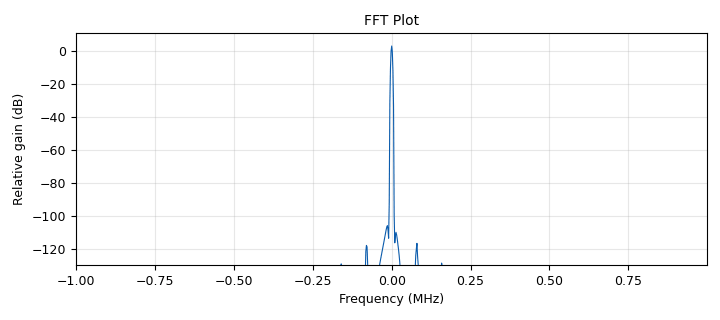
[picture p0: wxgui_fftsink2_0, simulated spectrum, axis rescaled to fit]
<?xml version='1.0' encoding='utf-8'?>
<?grc format='1' created='3.7.8'?>
<flow_graph>
<block>
<key>options</key>
<param><key>id</key><value>top_block</value></param>
<param><key>category</key><value>Custom</value></param>
<param><key>generate_options</key><value>wx_gui</value></param>
</block>
<block>
<key>variable</key>
<param><key>id</key><value>band_width_var</value></param>
<param><key>value</key><value>200*1e3</value></param>
</block>
<block>
<key>variable_slider</key>
<param><key>id</key><value>freq</value></param>
<param><key>converver</key><value>float_converter</value></param>
<param><key>value</key><value>1200</value></param>
<param><key>label</key><value></value></param>
<param><key>max</key><value>2e9</value></param>
<param><key>min</key><value>100</value></param>
<param><key>num_steps</key><value>1</value></param>
<param><key>style</key><value>wx.SL_HORIZONTAL</value></param>
</block>
<block>
<key>variable</key>
<param><key>id</key><value>samp_rate</value></param>
<param><key>value</key><value>2000000</value></param>
</block>
<block>
<key>analog_sig_source_x</key>
<param><key>id</key><value>analog_sig_source_x_0</value></param>
<param><key>amp</key><value>2</value></param>
<param><key>freq</key><value>freq*1e6</value></param>
<param><key>offset</key><value>0</value></param>
<param><key>type</key><value>complex</value></param>
<param><key>samp_rate</key><value>samp_rate</value></param>
<param><key>waveform</key><value>analog.GR_SIN_WAVE</value></param>
</block>
<block>
<key>rtlsdr_source</key>
<param><key>id</key><value>rtlsdr_source_0</value></param>
<param><key>bb_gain0</key><value>20</value></param>
<param><key>bw0</key><value>band_width_var</value></param>
<param><key>freq0</key><value>freq*1e6</value></param>
<param><key>gain_mode0</key><value>True</value></param>
<param><key>if_gain0</key><value>20</value></param>
<param><key>gain0</key><value>20</value></param>
<param><key>args</key><value></value></param>
<param><key>clock_source0</key><value>mimo</value></param>
<param><key>type</key><value>fc32</value></param>
<param><key>sample_rate</key><value>2e6</value></param>
<param><key>sync</key><value></value></param>
</block>
<block>
<key>uhd_usrp_sink</key>
<param><key>id</key><value>uhd_usrp_sink_0</value></param>
<param><key>ant0</key><value></value></param>
<param><key>bw0</key><value>band_width_var</value></param>
<param><key>center_freq0</key><value>freq*1e6</value></param>
<param><key>norm_gain0</key><value>False</value></param>
<param><key>gain0</key><value>0</value></param>
<param><key>clock_rate</key><value>0.0</value></param>
<param><key>dev_args</key><value>""</value></param>
<param><key>type</key><value>fc32</value></param>
<param><key>len_tag_name</key><value></value></param>
<param><key>samp_rate</key><value>samp_rate</value></param>
<param><key>sync</key><value></value></param>
</block>
<block>
<key>wxgui_fftsink2</key>
<param><key>id</key><value>wxgui_fftsink2_0</value></param>
<param><key>avg_alpha</key><value>0</value></param>
<param><key>average</key><value>False</value></param>
<param><key>baseband_freq</key><value>0</value></param>
<param><key>fft_size</key><value>1024</value></param>
<param><key>freqvar</key><value>None</value></param>
<param><key>peak_hold</key><value>False</value></param>
<param><key>ref_level</key><value>0</value></param>
<param><key>ref_scale</key><value>2.0</value></param>
<param><key>fft_rate</key><value>15</value></param>
<param><key>samp_rate</key><value>samp_rate</value></param>
<param><key>title</key><value>FFT Plot</value></param>
<param><key>type</key><value>complex</value></param>
<param><key>win</key><value>None</value></param>
<param><key>y_divs</key><value>5</value></param>
<param><key>y_per_div</key><value>5</value></param>
</block>
<block>
<key>wxgui_fftsink2</key>
<param><key>id</key><value>wxgui_fftsink2_0_0</value></param>
<param><key>avg_alpha</key><value>0</value></param>
<param><key>average</key><value>False</value></param>
<param><key>baseband_freq</key><value>0</value></param>
<param><key>fft_size</key><value>1024</value></param>
<param><key>freqvar</key><value>None</value></param>
<param><key>peak_hold</key><value>False</value></param>
<param><key>ref_level</key><value>0</value></param>
<param><key>ref_scale</key><value>2.0</value></param>
<param><key>fft_rate</key><value>15</value></param>
<param><key>samp_rate</key><value>samp_rate</value></param>
<param><key>title</key><value>FFT Plot</value></param>
<param><key>type</key><value>complex</value></param>
<param><key>win</key><value>None</value></param>
<param><key>y_divs</key><value>10</value></param>
<param><key>y_per_div</key><value>10</value></param>
</block>
<connection><source_block_id>analog_sig_source_x_0</source_block_id><sink_block_id>uhd_usrp_sink_0</sink_block_id><source_key>0</source_key><sink_key>0</sink_key></connection>
<connection><source_block_id>analog_sig_source_x_0</source_block_id><sink_block_id>wxgui_fftsink2_0</sink_block_id><source_key>0</source_key><sink_key>0</sink_key></connection>
<connection><source_block_id>rtlsdr_source_0</source_block_id><sink_block_id>wxgui_fftsink2_0_0</sink_block_id><source_key>0</source_key><sink_key>0</sink_key></connection>
</flow_graph>
